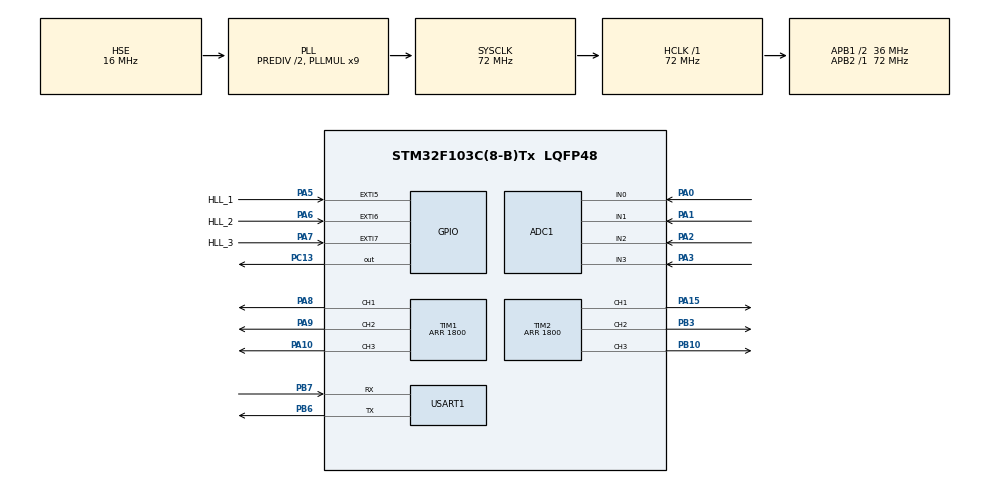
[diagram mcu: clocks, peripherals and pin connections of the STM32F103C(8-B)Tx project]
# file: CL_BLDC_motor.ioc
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Mcu.Family=STM32F1
ADC1.ContinuousConvMode=ENABLE
SH.ADCx_IN2.0=ADC1_IN2,IN2
PA6.GPIO_Label=HLL_2
TIM1.Pulse-PWM\ Generation1\ CH1=900
TIM2.Channel-PWM\ Generation2\ CH2=TIM_CHANNEL_2
RCC.SYSCLKSource=RCC_SYSCLKSOURCE_PLLCLK
ProjectManager.StackSize=0x400
PD1-OSC_OUT.Signal=RCC_OSC_OUT
TIM2.Pulse-PWM\ Generation3\ CH3=900
ADC1.Channel-3\#ChannelRegularConversion=ADC_CHANNEL_3
RCC.HCLKFreq_Value=72000000
SH.ADCx_IN3.0=ADC1_IN3,IN3
RCC.APB2TimFreq_Value=72000000
TIM3.Period=10000
Dma.ADC1.0.Direction=DMA_PERIPH_TO_MEMORY
PB6.Signal=USART1_TX
ADC1.Channel-2\#ChannelRegularConversion=ADC_CHANNEL_2
PB6.Mode=Asynchronous
Dma.ADC1.0.MemDataAlignment=DMA_MDATAALIGN_HALFWORD
RCC.AHBFreq_Value=72000000
ADC1.Channel-0\#ChannelRegularConversion=ADC_CHANNEL_0
RCC.HSE_VALUE=16000000
RCC.PLLMUL=RCC_PLL_MUL9
PA6.GPIO_PuPd=GPIO_NOPULL
ADC1.Rank-2\#ChannelRegularConversion=3
TIM1.Channel-PWM\ Generation1\ CH1=TIM_CHANNEL_1
PA14.Mode=Serial_Wire
TIM3.Prescaler=7200
PA5.GPIO_PuPd=GPIO_NOPULL
Dma.ADC1.0.PeriphInc=DMA_PINC_DISABLE
PB7.Signal=USART1_RX
PA8.Signal=S_TIM1_CH1
SH.ADCx_IN0.0=ADC1_IN0,IN0
TIM2.Channel-PWM\ Generation1\ CH1=TIM_CHANNEL_1
VP_TIM1_VS_ClockSourceINT.Mode=Internal
ADC1.SamplingTime-0\#ChannelRegularConversion=ADC_SAMPLETIME_28CYCLES_5
Mcu.Package=LQFP48
PA6.Signal=GPXTI6
TIM1.Pulse-PWM\ Generation2\ CH2=900
PA10.Signal=S_TIM1_CH3
PA15.Signal=S_TIM2_CH1_ETR
TIM2.Pulse-PWM\ Generation2\ CH2=900
SH.ADCx_IN1.0=ADC1_IN1,IN1
RCC.APB1TimFreq_Value=72000000
TIM1.Period=1800
Dma.Request0=ADC1
VP_TIM3_VS_ClockSourceINT.Mode=Internal
PA3.Signal=ADCx_IN3
RCC.PLLSourceVirtual=RCC_PLLSOURCE_HSE
PA5.GPIO_ModeDefaultEXTI=GPIO_MODE_IT_RISING
PA6.GPIO_ModeDefaultEXTI=GPIO_MODE_IT_RISING
Dma.ADC1.0.Instance=DMA1_Channel1
ADC1.Rank-0\#ChannelRegularConversion=1
TIM1.OffStateIDLEMode=TIM_OSSI_DISABLE
PD1-OSC_OUT.Mode=HSE-External-Oscillator
TIM2.CounterMode=TIM_COUNTERMODE_CENTERALIGNED1
TIM3.AutoReloadPreload=TIM_AUTORELOAD_PRELOAD_ENABLE
TIM1.CounterMode=TIM_COUNTERMODE_CENTERALIGNED1
PA7.GPIO_ModeDefaultEXTI=GPIO_MODE_IT_RISING
PC13-TAMPER-RTC.Signal=GPIO_Output
PD0-OSC_IN.Signal=RCC_OSC_IN
RCC.APB1CLKDivider=RCC_HCLK_DIV2
ADC1.SamplingTime-2\#ChannelRegularConversion=ADC_SAMPLETIME_28CYCLES_5
PA0-WKUP.Signal=ADCx_IN0
TIM2.Pulse-PWM\ Generation1\ CH1=900
RCC.ADCPresc=RCC_ADCPCLK2_DIV6
PA13.Signal=SYS_JTMS-SWDIO
TIM1.AutoReloadPreload=TIM_AUTORELOAD_PRELOAD_ENABLE
TIM1.Pulse-PWM\ Generation3\ CH3=900
SH.S_TIM2_CH2.0=TIM2_CH2,PWM Generation2 CH2
Dma.ADC1.0.PeriphDataAlignment=DMA_PDATAALIGN_HALFWORD
SH.S_TIM1_CH1.0=TIM1_CH1,PWM Generation1 CH1
ProjectManager.TargetToolchain=MDK-ARM V5.27
Dma.ADC1.0.Mode=DMA_CIRCULAR
Dma.ADC1.0.Priority=DMA_PRIORITY_LOW
PA9.Signal=S_TIM1_CH2
ADC1.Channel-1\#ChannelRegularConversion=ADC_CHANNEL_1
TIM1.Channel-PWM\ Generation2\ CH2=TIM_CHANNEL_2
RCC.USBFreq_Value=72000000
PA7.GPIO_PuPd=GPIO_NOPULL
PA1.Signal=ADCx_IN1
PD0-OSC_IN.Mode=HSE-External-Oscillator
PB10.Signal=S_TIM2_CH3
PA5.Signal=GPXTI5
board=custom
NVIC.TIM3_IRQn=true\:0\:0\:false\:false\:true\:true\:true
RCC.APB2Freq_Value=72000000
VP_TIM2_VS_ClockSourceINT.Mode=Internal
SH.S_TIM1_CH2.0=TIM1_CH2,PWM Generation2 CH2
SH.S_TIM2_CH3.0=TIM2_CH3,PWM Generation3 CH3
TIM2.Channel-PWM\ Generation3\ CH3=TIM_CHANNEL_3
TIM1.OffStateRunMode=TIM_OSSR_DISABLE
TIM2.Period=1800
ADC1.NbrOfConversion=4
PA13.Mode=Serial_Wire
Mcu.Name=STM32F103C(8-B)Tx
PA2.Signal=ADCx_IN2
PB3.Signal=S_TIM2_CH2
ADC1.SamplingTime-1\#ChannelRegularConversion=ADC_SAMPLETIME_28CYCLES_5
RCC.SYSCLKFreq_VALUE=72000000
PA7.GPIO_Label=HLL_3
ADC1.master=1
PA5.GPIO_Label=HLL_1
ADC1.Rank-3\#ChannelRegularConversion=4
ADC1.SamplingTime-3\#ChannelRegularConversion=ADC_SAMPLETIME_28CYCLES_5
RCC.HSEDivPLL=RCC_HSE_PREDIV_DIV2
USART1.VirtualMode=VM_ASYNC
ADC1.Rank-1\#ChannelRegularConversion=2
PB7.Mode=Asynchronous
SH.S_TIM2_CH1_ETR.0=TIM2_CH1,PWM Generation1 CH1
NVIC.EXTI9_5_IRQn=true\:0\:0\:false\:false\:true\:true\:true
PA14.Signal=SYS_JTCK-SWCLK
Dma.ADC1.0.MemInc=DMA_MINC_ENABLE
ProjectManager.HeapSize=0x200
SH.S_TIM1_CH3.0=TIM1_CH3,PWM Generation3 CH3
NVIC.PriorityGroup=NVIC_PRIORITYGROUP_4
ADC1.NbrOfConversionFlag=1
TIM2.AutoReloadPreload=TIM_AUTORELOAD_PRELOAD_ENABLE
NVIC.DMA1_Channel1_IRQn=true\:0\:0\:false\:false\:true\:false\:true
TIM1.Channel-PWM\ Generation3\ CH3=TIM_CHANNEL_3
RCC.APB1Freq_Value=36000000
PA7.Signal=GPXTI7

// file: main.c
/* USER CODE BEGIN Header */
//TIM1_ch1 LEG1_HIGH
//TIM1_ch2 LEG1_LOW 			nd so on
/**
  ******************************************************************************
  * @file           : main.c
  * @brief          : Main program body
  ******************************************************************************
  * @attention
  *
  * <h2><center>&copy; Copyright (c) 2021 STMicroelectronics.
  * All rights reserved.</center></h2>
  *
  * This software component is licensed by ST under BSD 3-Clause license,
  * the "License"; You may not use this file except in compliance with the
  * License. You may obtain a copy of the License at:
  *                        opensource.org/licenses/BSD-3-Clause
  *
  ******************************************************************************
  */
/* USER CODE END Header */

#include "main.h"

/* USER CODE BEGIN Includes */
#include <stdint.h>
#include "string.h"
#include "stdlib.h"
#include "stdarg.h"

/* USER CODE END Includes */

/* USER CODE BEGIN PTD */
#include "PID.h"

/* USER CODE END PTD */

/* USER CODE BEGIN PD */
#define PI 3.14159265

/* Controller parameters */
#define PID_KP_I  100.0f
#define PID_KI_I  20.0f
#define PID_KD_I  0.0f

#define PID_TAU_I 0.02f

#define PID_LIM_MIN_I  0.0f
#define PID_LIM_MAX_I  1800.0f

#define PID_LIM_MIN_INT_I  0.0f
#define PID_LIM_MAX_INT_I  1700.0f

#define SAMPLE_TIME_S 0.0001f					// f = clk_freq/(Period*INC) = 72e6/(720*10) = 1e4 Hz = .0001 sec

/* USER CODE END PD */

/* USER CODE BEGIN PM */
float map(float x, float in_min, float in_max, float out_min, float out_max)
{
	return (x - in_min) * (out_max - out_min) / (in_max - in_min) + out_min;
}
/* USER CODE END PM */

ADC_HandleTypeDef hadc1;
DMA_HandleTypeDef hdma_adc1;

TIM_HandleTypeDef htim1;
TIM_HandleTypeDef htim2;
TIM_HandleTypeDef htim3;

UART_HandleTypeDef huart1;

/* USER CODE BEGIN PV */
uint16_t ADC_VALs[4];
uint8_t sensor[3];
uint8_t STEP=0;

uint32_t time_tehif=0;
double time_diff=0;
double speed=0;
uint8_t Pole_P = 1;

float mes_I=0;

/* USER CODE END PV */

void SystemClock_Config(void);
static void MX_GPIO_Init(void);
static void MX_DMA_Init(void);
static void MX_ADC1_Init(void);
static void MX_TIM1_Init(void);
static void MX_TIM2_Init(void);
static void MX_TIM3_Init(void);
static void MX_USART1_UART_Init(void);
/* USER CODE BEGIN PFP */
void FIND_MOTOR_STEP(void);
void APPLY_THE_PWMs(uint8_t step);
/* USER CODE END PFP */

/* USER CODE BEGIN 0 */
void printMsg(char *msg, ...){
 char buff[80];
 //#ifdef DEBUG_UART

 va_list args;
 va_start(args,msg);
 vsprintf(buff,msg,args);

 for(int i=0;i<strlen(buff);i++)
 {
	 USART1->DR = buff[i];
	 while(!(USART1->SR & USART_SR_TXE));
	}
}

/* Initialisec PID controller */

PIDController pid_I = { PID_KP_I, PID_KI_I, -PID_KD_I,
												PID_TAU_I,
												PID_LIM_MIN_I, PID_LIM_MAX_I,
												PID_LIM_MIN_INT_I, PID_LIM_MAX_INT_I,
												SAMPLE_TIME_S };

/* USER CODE END 0 */

int main(void)
{

  /* MCU Configuration--------------------------------------------------------*/

  /* Reset of all peripherals, Initializes the Flash interface and the Systick. */
  HAL_Init();

  /* Configure the system clock */
  SystemClock_Config();

  /* Initialize all configured peripherals */
  MX_GPIO_Init();
  MX_DMA_Init();
  MX_ADC1_Init();
  MX_TIM1_Init();
  MX_TIM2_Init();
  MX_TIM3_Init();
  MX_USART1_UART_Init();
  /* USER CODE BEGIN 2 */

	HAL_ADC_Start_DMA(&hadc1,( uint32_t *)ADC_VALs,4);

	// TIMER init
	HAL_TIM_PWM_Start(&htim1, TIM_CHANNEL_1);
	HAL_TIM_PWM_Start(&htim2, TIM_CHANNEL_1);	// turn on complementary channel

	HAL_TIM_PWM_Start(&htim1, TIM_CHANNEL_2);
	HAL_TIM_PWM_Start(&htim2, TIM_CHANNEL_2); // turn on complementary channel

	HAL_TIM_PWM_Start(&htim1, TIM_CHANNEL_3);
	HAL_TIM_PWM_Start(&htim2, TIM_CHANNEL_3); // turn on complementary channel

	__HAL_TIM_SET_COMPARE(&htim1, TIM_CHANNEL_1,(uint32_t)0);
	__HAL_TIM_SET_COMPARE(&htim2, TIM_CHANNEL_1,(uint32_t)0);

	__HAL_TIM_SET_COMPARE(&htim1, TIM_CHANNEL_2,(uint32_t)0);
	__HAL_TIM_SET_COMPARE(&htim2, TIM_CHANNEL_2,(uint32_t)0);

	__HAL_TIM_SET_COMPARE(&htim1, TIM_CHANNEL_3,(uint32_t)0);
	__HAL_TIM_SET_COMPARE(&htim2, TIM_CHANNEL_3,(uint32_t)0);

	HAL_TIM_Base_Start_IT(&htim3);
	PIDController_Init(&pid_I);

  /* USER CODE END 2 */

  /* Infinite loop */
  while (1)
  {
		mes_I =  map(ADC_VALs[0],0,4048,0,20);;
  }
}

void SystemClock_Config(void)
{
  RCC_OscInitTypeDef RCC_OscInitStruct = {0};
  RCC_ClkInitTypeDef RCC_ClkInitStruct = {0};
  RCC_PeriphCLKInitTypeDef PeriphClkInit = {0};

  /** Initializes the CPU, AHB and APB busses clocks
  */
  RCC_OscInitStruct.OscillatorType = RCC_OSCILLATORTYPE_HSE;
  RCC_OscInitStruct.HSEState = RCC_HSE_ON;
  RCC_OscInitStruct.HSEPredivValue = RCC_HSE_PREDIV_DIV2;
  RCC_OscInitStruct.HSIState = RCC_HSI_ON;
  RCC_OscInitStruct.PLL.PLLState = RCC_PLL_ON;
  RCC_OscInitStruct.PLL.PLLSource = RCC_PLLSOURCE_HSE;
  RCC_OscInitStruct.PLL.PLLMUL = RCC_PLL_MUL9;
  if (HAL_RCC_OscConfig(&RCC_OscInitStruct) != HAL_OK)
  {
    Error_Handler();
  }
  /** Initializes the CPU, AHB and APB busses clocks
  */
  RCC_ClkInitStruct.ClockType = RCC_CLOCKTYPE_HCLK|RCC_CLOCKTYPE_SYSCLK
                              |RCC_CLOCKTYPE_PCLK1|RCC_CLOCKTYPE_PCLK2;
  RCC_ClkInitStruct.SYSCLKSource = RCC_SYSCLKSOURCE_PLLCLK;
  RCC_ClkInitStruct.AHBCLKDivider = RCC_SYSCLK_DIV1;
  RCC_ClkInitStruct.APB1CLKDivider = RCC_HCLK_DIV2;
  RCC_ClkInitStruct.APB2CLKDivider = RCC_HCLK_DIV1;

  if (HAL_RCC_ClockConfig(&RCC_ClkInitStruct, FLASH_LATENCY_2) != HAL_OK)
  {
    Error_Handler();
  }
  PeriphClkInit.PeriphClockSelection = RCC_PERIPHCLK_ADC;
  PeriphClkInit.AdcClockSelection = RCC_ADCPCLK2_DIV6;
  if (HAL_RCCEx_PeriphCLKConfig(&PeriphClkInit) != HAL_OK)
  {
    Error_Handler();
  }
}

static void MX_ADC1_Init(void)
{

  ADC_ChannelConfTypeDef sConfig = {0};

  /** Common config
  */
  hadc1.Instance = ADC1;
  hadc1.Init.ScanConvMode = ADC_SCAN_ENABLE;
  hadc1.Init.ContinuousConvMode = ENABLE;
  hadc1.Init.DiscontinuousConvMode = DISABLE;
  hadc1.Init.ExternalTrigConv = ADC_SOFTWARE_START;
  hadc1.Init.DataAlign = ADC_DATAALIGN_RIGHT;
  hadc1.Init.NbrOfConversion = 4;
  if (HAL_ADC_Init(&hadc1) != HAL_OK)
  {
    Error_Handler();
  }
  /** Configure Regular Channel
  */
  sConfig.Channel = ADC_CHANNEL_0;
  sConfig.Rank = ADC_REGULAR_RANK_1;
  sConfig.SamplingTime = ADC_SAMPLETIME_28CYCLES_5;
  if (HAL_ADC_ConfigChannel(&hadc1, &sConfig) != HAL_OK)
  {
    Error_Handler();
  }
  /** Configure Regular Channel
  */
  sConfig.Channel = ADC_CHANNEL_1;
  sConfig.Rank = ADC_REGULAR_RANK_2;
  if (HAL_ADC_ConfigChannel(&hadc1, &sConfig) != HAL_OK)
  {
    Error_Handler();
  }
  /** Configure Regular Channel
  */
  sConfig.Channel = ADC_CHANNEL_2;
  sConfig.Rank = ADC_REGULAR_RANK_3;
  if (HAL_ADC_ConfigChannel(&hadc1, &sConfig) != HAL_OK)
  {
    Error_Handler();
  }
  /** Configure Regular Channel
  */
  sConfig.Channel = ADC_CHANNEL_3;
  sConfig.Rank = ADC_REGULAR_RANK_4;
  if (HAL_ADC_ConfigChannel(&hadc1, &sConfig) != HAL_OK)
  {
    Error_Handler();
  }

}

static void MX_TIM1_Init(void)
{

  TIM_ClockConfigTypeDef sClockSourceConfig = {0};
  TIM_MasterConfigTypeDef sMasterConfig = {0};
  TIM_OC_InitTypeDef sConfigOC = {0};
  TIM_BreakDeadTimeConfigTypeDef sBreakDeadTimeConfig = {0};

  htim1.Instance = TIM1;
  htim1.Init.Prescaler = 0;
  htim1.Init.CounterMode = TIM_COUNTERMODE_CENTERALIGNED1;
  htim1.Init.Period = 1800;
  htim1.Init.ClockDivision = TIM_CLOCKDIVISION_DIV1;
  htim1.Init.RepetitionCounter = 0;
  htim1.Init.AutoReloadPreload = TIM_AUTORELOAD_PRELOAD_ENABLE;
  if (HAL_TIM_Base_Init(&htim1) != HAL_OK)
  {
    Error_Handler();
  }
  sClockSourceConfig.ClockSource = TIM_CLOCKSOURCE_INTERNAL;
  if (HAL_TIM_ConfigClockSource(&htim1, &sClockSourceConfig) != HAL_OK)
  {
    Error_Handler();
  }
  if (HAL_TIM_PWM_Init(&htim1) != HAL_OK)
  {
    Error_Handler();
  }
  sMasterConfig.MasterOutputTrigger = TIM_TRGO_RESET;
  sMasterConfig.MasterSlaveMode = TIM_MASTERSLAVEMODE_DISABLE;
  if (HAL_TIMEx_MasterConfigSynchronization(&htim1, &sMasterConfig) != HAL_OK)
  {
    Error_Handler();
  }
  sConfigOC.OCMode = TIM_OCMODE_PWM1;
  sConfigOC.Pulse = 900;
  sConfigOC.OCPolarity = TIM_OCPOLARITY_HIGH;
  sConfigOC.OCNPolarity = TIM_OCNPOLARITY_HIGH;
  sConfigOC.OCFastMode = TIM_OCFAST_DISABLE;
  sConfigOC.OCIdleState = TIM_OCIDLESTATE_RESET;
  sConfigOC.OCNIdleState = TIM_OCNIDLESTATE_RESET;
  if (HAL_TIM_PWM_ConfigChannel(&htim1, &sConfigOC, TIM_CHANNEL_1) != HAL_OK)
  {
    Error_Handler();
  }
  if (HAL_TIM_PWM_ConfigChannel(&htim1, &sConfigOC, TIM_CHANNEL_2) != HAL_OK)
  {
    Error_Handler();
  }
  if (HAL_TIM_PWM_ConfigChannel(&htim1, &sConfigOC, TIM_CHANNEL_3) != HAL_OK)
  {
    Error_Handler();
  }
  sBreakDeadTimeConfig.OffStateRunMode = TIM_OSSR_DISABLE;
  sBreakDeadTimeConfig.OffStateIDLEMode = TIM_OSSI_DISABLE;
  sBreakDeadTimeConfig.LockLevel = TIM_LOCKLEVEL_OFF;
  sBreakDeadTimeConfig.DeadTime = 0;
  sBreakDeadTimeConfig.BreakState = TIM_BREAK_DISABLE;
  sBreakDeadTimeConfig.BreakPolarity = TIM_BREAKPOLARITY_HIGH;
  sBreakDeadTimeConfig.AutomaticOutput = TIM_AUTOMATICOUTPUT_DISABLE;
  if (HAL_TIMEx_ConfigBreakDeadTime(&htim1, &sBreakDeadTimeConfig) != HAL_OK)
  {
    Error_Handler();
  }
  HAL_TIM_MspPostInit(&htim1);

}

static void MX_TIM2_Init(void)
{

  TIM_ClockConfigTypeDef sClockSourceConfig = {0};
  TIM_MasterConfigTypeDef sMasterConfig = {0};
  TIM_OC_InitTypeDef sConfigOC = {0};

  htim2.Instance = TIM2;
  htim2.Init.Prescaler = 0;
  htim2.Init.CounterMode = TIM_COUNTERMODE_CENTERALIGNED1;
  htim2.Init.Period = 1800;
  htim2.Init.ClockDivision = TIM_CLOCKDIVISION_DIV1;
  htim2.Init.AutoReloadPreload = TIM_AUTORELOAD_PRELOAD_ENABLE;
  if (HAL_TIM_Base_Init(&htim2) != HAL_OK)
  {
    Error_Handler();
  }
  sClockSourceConfig.ClockSource = TIM_CLOCKSOURCE_INTERNAL;
  if (HAL_TIM_ConfigClockSource(&htim2, &sClockSourceConfig) != HAL_OK)
  {
    Error_Handler();
  }
  if (HAL_TIM_PWM_Init(&htim2) != HAL_OK)
  {
    Error_Handler();
  }
  sMasterConfig.MasterOutputTrigger = TIM_TRGO_RESET;
  sMasterConfig.MasterSlaveMode = TIM_MASTERSLAVEMODE_DISABLE;
  if (HAL_TIMEx_MasterConfigSynchronization(&htim2, &sMasterConfig) != HAL_OK)
  {
    Error_Handler();
  }
  sConfigOC.OCMode = TIM_OCMODE_PWM1;
  sConfigOC.Pulse = 900;
  sConfigOC.OCPolarity = TIM_OCPOLARITY_HIGH;
  sConfigOC.OCFastMode = TIM_OCFAST_DISABLE;
  if (HAL_TIM_PWM_ConfigChannel(&htim2, &sConfigOC, TIM_CHANNEL_1) != HAL_OK)
  {
    Error_Handler();
  }
  if (HAL_TIM_PWM_ConfigChannel(&htim2, &sConfigOC, TIM_CHANNEL_2) != HAL_OK)
  {
    Error_Handler();
  }
  if (HAL_TIM_PWM_ConfigChannel(&htim2, &sConfigOC, TIM_CHANNEL_3) != HAL_OK)
  {
    Error_Handler();
  }
  HAL_TIM_MspPostInit(&htim2);

}

static void MX_TIM3_Init(void)
{

  TIM_ClockConfigTypeDef sClockSourceConfig = {0};
  TIM_MasterConfigTypeDef sMasterConfig = {0};

  htim3.Instance = TIM3;
  htim3.Init.Prescaler = 72;
  htim3.Init.CounterMode = TIM_COUNTERMODE_UP;
  htim3.Init.Period = 50;
  htim3.Init.ClockDivision = TIM_CLOCKDIVISION_DIV1;
  htim3.Init.AutoReloadPreload = TIM_AUTORELOAD_PRELOAD_ENABLE;
  if (HAL_TIM_Base_Init(&htim3) != HAL_OK)
  {
    Error_Handler();
  }
  sClockSourceConfig.ClockSource = TIM_CLOCKSOURCE_INTERNAL;
  if (HAL_TIM_ConfigClockSource(&htim3, &sClockSourceConfig) != HAL_OK)
  {
    Error_Handler();
  }
  sMasterConfig.MasterOutputTrigger = TIM_TRGO_RESET;
  sMasterConfig.MasterSlaveMode = TIM_MASTERSLAVEMODE_DISABLE;
  if (HAL_TIMEx_MasterConfigSynchronization(&htim3, &sMasterConfig) != HAL_OK)
  {
    Error_Handler();
  }

}

static void MX_USART1_UART_Init(void)
{

  huart1.Instance = USART1;
  huart1.Init.BaudRate = 115200;
  huart1.Init.WordLength = UART_WORDLENGTH_8B;
  huart1.Init.StopBits = UART_STOPBITS_1;
  huart1.Init.Parity = UART_PARITY_NONE;
  huart1.Init.Mode = UART_MODE_TX_RX;
  huart1.Init.HwFlowCtl = UART_HWCONTROL_NONE;
  huart1.Init.OverSampling = UART_OVERSAMPLING_16;
  if (HAL_UART_Init(&huart1) != HAL_OK)
  {
    Error_Handler();
  }

}

static void MX_DMA_Init(void)
{

  /* DMA controller clock enable */
  __HAL_RCC_DMA1_CLK_ENABLE();

  /* DMA interrupt init */
  /* DMA1_Channel1_IRQn interrupt configuration */
  HAL_NVIC_SetPriority(DMA1_Channel1_IRQn, 0, 0);
  HAL_NVIC_EnableIRQ(DMA1_Channel1_IRQn);

}

static void MX_GPIO_Init(void)
{
  GPIO_InitTypeDef GPIO_InitStruct = {0};

  /* GPIO Ports Clock Enable */
  __HAL_RCC_GPIOC_CLK_ENABLE();
  __HAL_RCC_GPIOD_CLK_ENABLE();
  __HAL_RCC_GPIOA_CLK_ENABLE();
  __HAL_RCC_GPIOB_CLK_ENABLE();

  /*Configure GPIO pin Output Level */
  HAL_GPIO_WritePin(GPIOC, GPIO_PIN_13, GPIO_PIN_RESET);

  /*Configure GPIO pin : PC13 */
  GPIO_InitStruct.Pin = GPIO_PIN_13;
  GPIO_InitStruct.Mode = GPIO_MODE_OUTPUT_PP;
  GPIO_InitStruct.Pull = GPIO_NOPULL;
  GPIO_InitStruct.Speed = GPIO_SPEED_FREQ_LOW;
  HAL_GPIO_Init(GPIOC, &GPIO_InitStruct);

  /*Configure GPIO pins : HLL_1_Pin HLL_2_Pin HLL_3_Pin */
  GPIO_InitStruct.Pin = HLL_1_Pin|HLL_2_Pin|HLL_3_Pin;
  GPIO_InitStruct.Mode = GPIO_MODE_IT_RISING;
  GPIO_InitStruct.Pull = GPIO_NOPULL;
  HAL_GPIO_Init(GPIOA, &GPIO_InitStruct);

  /* EXTI interrupt init*/
  HAL_NVIC_SetPriority(EXTI9_5_IRQn, 0, 0);
  HAL_NVIC_EnableIRQ(EXTI9_5_IRQn);

}

/* USER CODE BEGIN 4 */

// The time update for the controller-one second only for NOW, every 100 micro-second
void HAL_TIM_PeriodElapsedCallback(TIM_HandleTypeDef *htim) {
	UNUSED(htim);
	if (htim->Instance == TIM3) {
		HAL_GPIO_TogglePin(GPIOC,GPIO_PIN_13);
		time_tehif++;
		PIDController_Update(&pid_I, 10, mes_I);
		__HAL_TIM_SET_COMPARE(&htim1, TIM_CHANNEL_1,(uint32_t)pid_I.out);				// firts leg high switch

	}
}

void HAL_GPIO_EXTI_Callback(uint16_t GPIO_Pin)
{
  /* Prevent unused argument(s) compilation warning */
  UNUSED(GPIO_Pin);
  /* NOTE: This function Should not be modified, when the callback is needed,
           the HAL_GPIO_EXTI_Callback could be implemented in the user file
   */

if( (GPIO_Pin == HLL_1_Pin) |  (GPIO_Pin == HLL_2_Pin) | (GPIO_Pin == HLL_3_Pin) ){

	// disble the INT
	HAL_TIM_Base_Stop(&htim3);

	//__HAL_TIM_DISABLE_IT(&htim3);
	sensor[0]=HAL_GPIO_ReadPin(HLL_1_GPIO_Port,HLL_1_Pin);
	sensor[1]=HAL_GPIO_ReadPin(HLL_2_GPIO_Port,HLL_2_Pin);
	sensor[2]=HAL_GPIO_ReadPin(HLL_3_GPIO_Port,HLL_3_Pin);

	// time clcultion

	time_diff = (TIM3->CNT*1e-6);
	time_diff +=(time_tehif*1e-4);
	speed = (2.0*PI/3.0)/(time_diff*Pole_P);

	STEP=0;
	FIND_MOTOR_STEP();
	APPLY_THE_PWMs(STEP);

	//HAL_UART_Transmit(&huart1,"HII",3,10);
	time_tehif = 0;
	TIM3->CNT = 0;
	HAL_TIM_Base_Start(&htim3);

	}else{

	}
}

// Steps function --> this functions Takes no rguments and returns no arguments, just declare
// a GLOBAL variable called STEP
void FIND_MOTOR_STEP(void){

		// Cheack for the step
		if( sensor[0] == 1 && sensor[1] == 0 && sensor[2] == 0 ){         // step 6  //100
			STEP = 6;

    }
    else if( sensor[0] == 0 && sensor[1] == 1 && sensor[2] == 0 ){  // step 4  //010
			STEP = 4;

    }
    else if( sensor[0] == 1 && sensor[1] == 1 && sensor[2] == 0){  // step 5  //110
			STEP = 5;

    }
    else if( sensor[0] == 0 && sensor[1] == 0 && sensor[2] ==1 ){   // step 2  //001
			STEP = 2;

    }
    else if( sensor[0] == 1 && sensor[1] ==0 && sensor[2] ==1 ){    // step 1  //101
			STEP = 1;

    }
    else if( sensor[0] == 0 && sensor[1] == 1 && sensor[2] == 1 ){  // step 3  //011
			STEP = 3;

    }
		else{
			STEP = 0;

    }

}

void APPLY_THE_PWMs(uint8_t step){

    switch (step) {

      case 1:
				__HAL_TIM_SET_COMPARE(&htim1, TIM_CHANNEL_1,(uint32_t)pid_I.out);				// firts leg high switch
				__HAL_TIM_SET_COMPARE(&htim1, TIM_CHANNEL_2,(uint32_t)0);														// first leg low switch

				__HAL_TIM_SET_COMPARE(&htim1, TIM_CHANNEL_3,(uint32_t)0);														// second leg high switch
				__HAL_TIM_SET_COMPARE(&htim2, TIM_CHANNEL_1,(uint32_t)pid_I.out);				// second leg low switch

				__HAL_TIM_SET_COMPARE(&htim2, TIM_CHANNEL_3,(uint32_t)0);														// third leg high switch
				__HAL_TIM_SET_COMPARE(&htim2, TIM_CHANNEL_4,(uint32_t)0);														// third leg low switch
        break;

      case 2:
				__HAL_TIM_SET_COMPARE(&htim1, TIM_CHANNEL_1,(uint32_t)0);
				__HAL_TIM_SET_COMPARE(&htim1, TIM_CHANNEL_2,(uint32_t)0);

				__HAL_TIM_SET_COMPARE(&htim1, TIM_CHANNEL_3,(uint32_t)pid_I.out);
				__HAL_TIM_SET_COMPARE(&htim2, TIM_CHANNEL_1,(uint32_t)0);

				__HAL_TIM_SET_COMPARE(&htim2, TIM_CHANNEL_3,(uint32_t)0);
				__HAL_TIM_SET_COMPARE(&htim2, TIM_CHANNEL_4,(uint32_t)pid_I.out);
        break;

      case 3:
				__HAL_TIM_SET_COMPARE(&htim1, TIM_CHANNEL_1,(uint32_t)pid_I.out);
				__HAL_TIM_SET_COMPARE(&htim1, TIM_CHANNEL_2,(uint32_t)0);

				__HAL_TIM_SET_COMPARE(&htim1, TIM_CHANNEL_3,(uint32_t)0);
				__HAL_TIM_SET_COMPARE(&htim2, TIM_CHANNEL_1,(uint32_t)0);

				__HAL_TIM_SET_COMPARE(&htim2, TIM_CHANNEL_3,(uint32_t)0);
				__HAL_TIM_SET_COMPARE(&htim2, TIM_CHANNEL_4,(uint32_t)pid_I.out);
        break;

      case 4:
				__HAL_TIM_SET_COMPARE(&htim1, TIM_CHANNEL_1,(uint32_t)pid_I.out);
				__HAL_TIM_SET_COMPARE(&htim1, TIM_CHANNEL_2,(uint32_t)0);

				__HAL_TIM_SET_COMPARE(&htim1, TIM_CHANNEL_3,(uint32_t)0);
				__HAL_TIM_SET_COMPARE(&htim2, TIM_CHANNEL_1,(uint32_t)pid_I.out);

				__HAL_TIM_SET_COMPARE(&htim2, TIM_CHANNEL_3,(uint32_t)0);
				__HAL_TIM_SET_COMPARE(&htim2, TIM_CHANNEL_4,(uint32_t)0);
        break;

      case 5:
				__HAL_TIM_SET_COMPARE(&htim1, TIM_CHANNEL_1,(uint32_t)0);
				__HAL_TIM_SET_COMPARE(&htim1, TIM_CHANNEL_2,(uint32_t)0);

				__HAL_TIM_SET_COMPARE(&htim1, TIM_CHANNEL_3,(uint32_t)0);
				__HAL_TIM_SET_COMPARE(&htim2, TIM_CHANNEL_1,(uint32_t)pid_I.out);

				__HAL_TIM_SET_COMPARE(&htim2, TIM_CHANNEL_3,(uint32_t)pid_I.out);
				__HAL_TIM_SET_COMPARE(&htim2, TIM_CHANNEL_4,(uint32_t)0);
        break;

      case 6:
				__HAL_TIM_SET_COMPARE(&htim1, TIM_CHANNEL_1,(uint32_t)0);
				__HAL_TIM_SET_COMPARE(&htim1, TIM_CHANNEL_2,(uint32_t)pid_I.out);

				__HAL_TIM_SET_COMPARE(&htim1, TIM_CHANNEL_3,(uint32_t)0);
				__HAL_TIM_SET_COMPARE(&htim2, TIM_CHANNEL_1,(uint32_t)0);

				__HAL_TIM_SET_COMPARE(&htim2, TIM_CHANNEL_3,(uint32_t)pid_I.out);
				__HAL_TIM_SET_COMPARE(&htim2, TIM_CHANNEL_4,(uint32_t)0);
        break;
			case 0:
				__HAL_TIM_SET_COMPARE(&htim1, TIM_CHANNEL_1,(uint32_t)0);				// firts leg high switch
				__HAL_TIM_SET_COMPARE(&htim1, TIM_CHANNEL_2,(uint32_t)0);				// first leg low switch

				__HAL_TIM_SET_COMPARE(&htim1, TIM_CHANNEL_3,(uint32_t)0);				// second leg high switch
				__HAL_TIM_SET_COMPARE(&htim2, TIM_CHANNEL_1,(uint32_t)0);				// second leg low switch

				__HAL_TIM_SET_COMPARE(&htim2, TIM_CHANNEL_3,(uint32_t)0);				// third leg high switch
				__HAL_TIM_SET_COMPARE(&htim2, TIM_CHANNEL_4,(uint32_t)0);				// third leg low switch

      default:
				__HAL_TIM_SET_COMPARE(&htim1, TIM_CHANNEL_1,(uint32_t)0);
				__HAL_TIM_SET_COMPARE(&htim1, TIM_CHANNEL_2,(uint32_t)0);
				__HAL_TIM_SET_COMPARE(&htim1, TIM_CHANNEL_3,(uint32_t)0);

				__HAL_TIM_SET_COMPARE(&htim2, TIM_CHANNEL_1,(uint32_t)0);
				__HAL_TIM_SET_COMPARE(&htim2, TIM_CHANNEL_3,(uint32_t)0);
				__HAL_TIM_SET_COMPARE(&htim2, TIM_CHANNEL_4,(uint32_t)0);
        break;

  }
}

/* USER CODE END 4 */

void Error_Handler(void)
{
}

/************************ (C) COPYRIGHT STMicroelectronics *****END OF FILE****/
